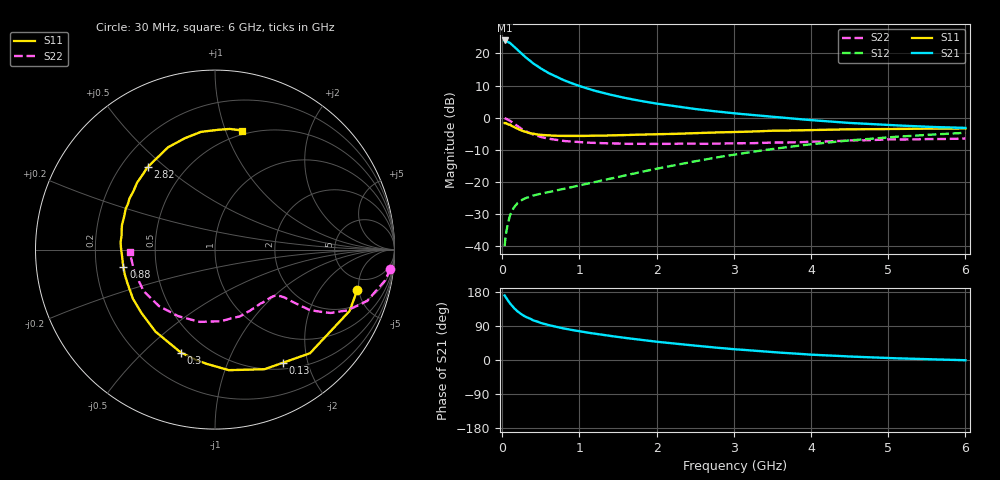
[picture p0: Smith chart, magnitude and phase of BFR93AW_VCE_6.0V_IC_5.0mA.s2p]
! Infineon Technologies  Discrete & RF Semiconductors
! BFR93AW
! VCE =  6.0 V,  IC =  5.0 mA
! Common Emitter S-Parameters:  Nov 2015
# GHz  S  MA  R  50
!  f  S11  S21  S12  S22
! GHz  MAG  ANG  MAG  ANG  MAG  ANG  MAG  ANG
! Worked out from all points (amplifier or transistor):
!   206 points, 30 MHz to 6 GHz, reference 50 ohm
!   highest |S21| = 24.0 dB at 30 MHz (marker M1)
!   |S21| within 3 dB of that: start of sweep to 201.8 MHz
!   unconditionally stable (mu >= 1): 944.3 MHz to 2.235 GHz
!   at 200 MHz: K = 0.30, MSG = 23.8 dB, |S12| = -26.5 dB
!   at 1.56 GHz: K = 1.09, MAG = 10.4 dB, |S12| = -18.1 dB
!   at 6 GHz: K = 0.92, MSG = 0.8 dB, |S12| = -4.7 dB
!   S11 on the Smith chart (normalised r, x): 30 MHz: 3.44, -4.82; 130 MHz: 0.59, -1.61; 300 MHz: 0.36, -0.66; 880 MHz: 0.32, -0.09; 2.82 GHz: 0.31, +0.44; 6 GHz: 0.46, +1.14
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0.03  0.8242 -15.8  15.84 170.3  0.0101 80.1  0.9822 -6.2
0.05  0.8242 -24.5  15.67 163.7  0.0163 76.2  0.9642 -10.2
0.1  0.7832 -47.5  14.49 149.3  0.0303 68.0  0.8947 -18.7
0.13  0.735 -59.1  13.41 142.4  0.0361 61.7  0.8432 -22.2
0.15  0.7213 -67.5  12.81 137.2  0.0402 58.5  0.8107 -24.7
0.2  0.6762 -83.4  11.27 127.9  0.0475 53.7  0.7351 -28.7
0.26  0.6251 -99.2  9.63 119.1  0.0531 49.0  0.6595 -31.3
0.3  0.6044 -108.3  8.728 114.2  0.0561 47.4  0.6201 -32.6
0.4  0.5647 -125.9  6.988 104.8  0.0619 46.3  0.5467 -33.6
0.5  0.5412 -139.1  5.815 97.7  0.0658 46.0  0.5003 -34.2
0.6  0.5329 -149.1  4.94 92.1  0.07 47.1  0.4721 -34.5
0.68  0.5248 -155.6  4.437 88.4  0.0736 48.5  0.4561 -35.1
0.88  0.5198 -169.1  3.496 80.1  0.0827 52.5  0.428 -36.9
1.04  0.5201 -177.5  2.996 74.5  0.0909 55.4  0.4146 -39.1
1.2  0.5276 175.5  2.621 69.3  0.1001 58.3  0.4065 -41.8
1.5  0.5362 165.0  2.136 60.8  0.1199 62.4  0.3977 -47.8
2.02  0.5552 148.7  1.643 47.8  0.1631 66.1  0.3923 -60.3
2.82  0.5927 129.3  1.235 31.8  0.2466 65.0  0.3965 -81.3
3.1  0.6029 122.9  1.141 27.1  0.2777 63.2  0.4 -89.2
4.1  0.6452 103.5  0.899 13.2  0.3978 53.1  0.4249 -122.2
5.1  0.6681 88.2  0.759 4.5  0.505 40.1  0.4587 -152.8
6  0.6807 77.1  0.695 -0.6  0.5828 28.5  0.4754 -178.1
